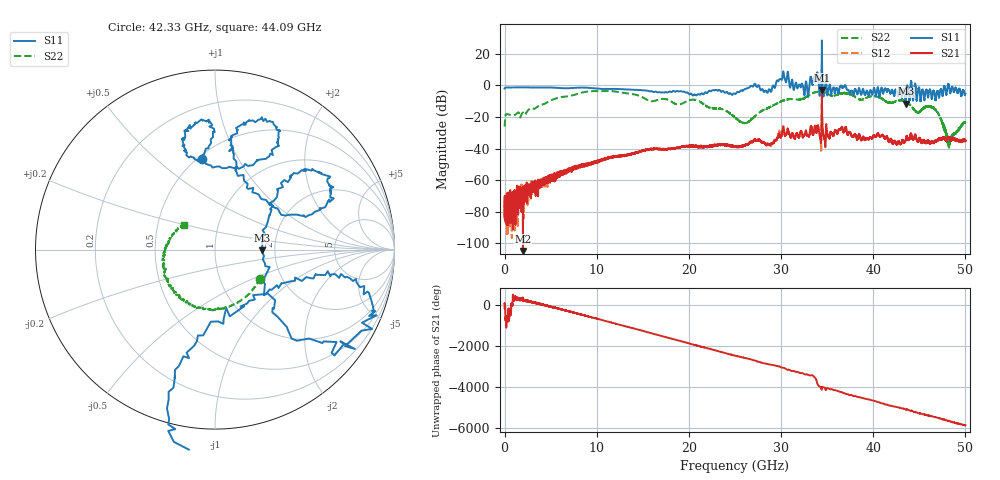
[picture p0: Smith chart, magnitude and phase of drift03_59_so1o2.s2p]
!Created with skrf (http://scikit-rf.org).
# Hz S RI R 50.0
!freq ReS11 ImS11 ReS21 ImS21 ReS12 ImS12 ReS22 ImS22
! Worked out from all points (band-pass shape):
!   10000 points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, 5.3 MHz to 50 GHz, reference 50 ohm
!   highest |S21| = -3.06 dB at 34.43 GHz (marker M1); lowest = -104.8 dB at 1.99 GHz (marker M2)
!   |S21| within 3 dB of the highest: 34.42728 GHz to 34.43474 GHz (7.46 MHz wide, 0.0217 % of centre)
!   lowest |S11| = -11.7 dB at 43.52 GHz (marker M3), VSWR 1.70, Z = 85.1 - j0.877 ohm
!   |S11| at or under -10 dB: 43.48836 GHz to 43.54438 GHz (56.01 MHz wide, 0.129 % of centre); 45.11965 GHz to 45.12185 GHz (2.2 MHz wide, 0.00488 % of centre); 45.13781 GHz to 45.14152 GHz (3.712 MHz wide, 0.00822 % of centre)
!   |S22| runs from -39.5 to -3.6 dB; largest |S21 - S12| = 0.23
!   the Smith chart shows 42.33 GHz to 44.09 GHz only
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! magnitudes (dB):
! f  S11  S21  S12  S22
! 5.3 MHz  -2.1  -82.5  -74.3  -26.1
! 320.3 MHz  -1.4  -75.0  -76.1  -18.2
! 1.99 GHz  -1.3  -104.8  -67.2  -17.3
! 8.34 GHz  -1.5  -50.7  -51.5  -4.7
! 16.67 GHz  -4.4  -40.3  -40.2  -9.2
! 20.75 GHz  -6.3  -38.5  -38.5  -9.3
! 25.01 GHz  -5.5  -38.9  -39.0  -20.4
! 26.22 GHz  -2.3  -37.4  -37.6  -23.8
! 27.4 GHz  -1.2  -34.8  -34.9  -18.4
! 28.72 GHz  -2.5  -37.9  -37.6  -14.1
! 30.14 GHz  4.4  -29.4  -29.8  -9.9
! 32.74 GHz  2.0  -29.6  -29.2  -7.3
! 33.34 GHz  2.6  -27.5  -27.7  -5.2
! 33.82 GHz  4.0  -29.2  -29.5  -4.3
! 34.43 GHz  28.3  -3.1  -5.2  -4.0
! 36.48 GHz  -0.4  -28.0  -28.1  -5.3
! 41.67 GHz  -2.9  -35.4  -35.5  -11.0
! 43.52 GHz  -11.7  -34.6  -34.2  -10.5
! 44.78 GHz  -7.2  -35.5  -35.2  -17.0
! 46.66 GHz  -5.2  -35.7  -35.8  -14.9
! 48.22 GHz  -0.5  -33.8  -32.9  -35.9
! 50 GHz  -5.3  -35.1  -34.9  -23.2
